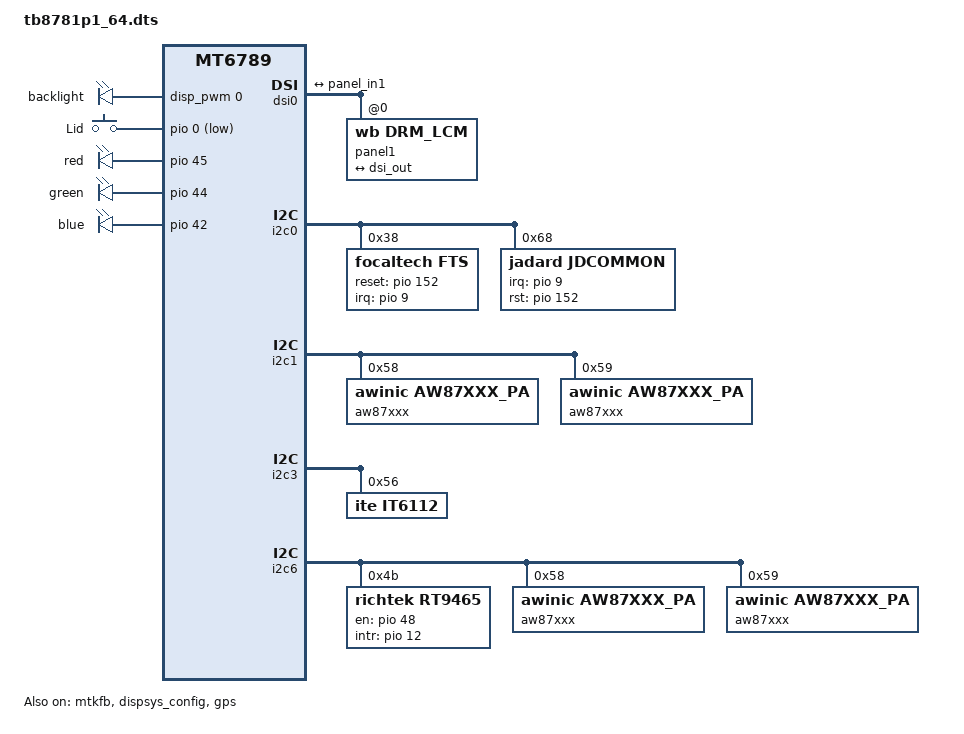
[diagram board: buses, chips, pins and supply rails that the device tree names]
// SPDX-License-Identifier: (GPL-2.0 OR MIT)
/*
 * Copyright (C) 2021 MediaTek Inc.
 */
/dts-v1/;
/plugin/;
#include <dt-bindings/interrupt-controller/arm-gic.h>
#include <dt-bindings/interrupt-controller/irq.h>
#include <dt-bindings/pinctrl/mt6789-pinfunc.h>
#include "mediatek/cust_mt6789_camera.dtsi"
#include <dt-bindings/gpio/gpio.h>
#include <dt-bindings/input/input.h>
#include "mediatek/bat_setting/mt6789_battery_prop.dtsi"

&chosen {
};

&android {
	hardware = "mt8781";
};

&mtk_leds {
	compatible = "mediatek,pwm-leds";

	backlight {
		led_mode = <5>;
		gate_enable = <1>;
        	pwms = <&disp_pwm 0 39385>;
		pwm_config = <0 1 0 0 0>;
	};
};

&pio {
	mtkfb_pins_lcd_bias_enp1: lcd_bias_enp1_gpio {
		pins_cmd_dat {
			pinmux = <PINMUX_GPIO38__FUNC_GPIO38>;
			slew-rate = <1>;
			output-high;
		};
	};

	mtkfb_pins_lcd_bias_enp0: lcd_bias_enp0_gpio {
		pins_cmd_dat {
			pinmux = <PINMUX_GPIO38__FUNC_GPIO38>;
			slew-rate = <1>;
			output-low;
		};
	};

	mtkfb_pins_lcd_bias_enn1: lcd_bias_enn1_gpio {
		pins_cmd_dat {
			pinmux = <PINMUX_GPIO39__FUNC_GPIO39>;
			slew-rate = <1>;
			output-high;
		};
	};

	mtkfb_pins_lcd_bias_enn0: lcd_bias_enn0_gpio {
		pins_cmd_dat {
			pinmux = <PINMUX_GPIO39__FUNC_GPIO39>;
			slew-rate = <1>;
			output-low;
		};
	};

	mtkfb_pins_lcm_led_en1: lcm_led_en1_gpio {
		pins_cmd_dat {
			pinmux = <PINMUX_GPIO12__FUNC_GPIO12>;
			slew-rate = <1>;
			output-high;
		};
	};

	mtkfb_pins_lcm_led_en0: lcm_led_en0_gpio {
		pins_cmd_dat {
			pinmux = <PINMUX_GPIO12__FUNC_GPIO12>;
			slew-rate = <1>;
			output-low;
		};
	};

	mtkfb_pins_lcm_rst_out1_gpio: lcm_rst_out1_gpio {
		pins_cmd_dat {
			pinmux = <PINMUX_GPIO85__FUNC_GPIO85>;
			slew-rate = <1>;
			output-high;
		};
	};

	mtkfb_pins_lcm_rst_out0_gpio: lcm_rst_out0_gpio {
		pins_cmd_dat {
			pinmux = <PINMUX_GPIO85__FUNC_GPIO85>;
			slew-rate = <1>;
			output-low;
		};
	};
	mtkfb_pins_lcm_dsi_te: lcm_dsi_te {
		pins_cmd_dat {
			pinmux = <PINMUX_GPIO83__FUNC_DSI_TE>;
		};
	};
	mtkfb_pins_lcd_pwr_1v8_en: lcd_pwr_1v8_en_gpio {
		pins_cmd_dat {
			pinmux = <PINMUX_GPIO52__FUNC_GPIO52>;
		};
	};
	mtkfb_pins_lcd_pwr_3v3_en: lcd_pwr_3v3_en_gpio {
		/*pins_cmd_dat {
			pinmux = <PINMUX_GPIO51__FUNC_GPIO51>;
		};*/
	};    

	mtkfb_pins_tp_rst_gpio: tp_rst_gpio {
		pins_cmd_dat {
			pinmux = <PINMUX_GPIO152__FUNC_GPIO152>;
		};
	};    
};

&mtkfb {
	pinctrl-names = "lcd_bias_enp1_gpio", "lcd_bias_enp0_gpio",
		"lcd_bias_enn1_gpio", "lcd_bias_enn0_gpio",
        	"lcm_led_en1_gpio", "lcm_led_en0_gpio",
		"lcm_rst_out1_gpio", "lcm_rst_out0_gpio",
		"mode_te_te","lcd_pwr_1v8_en_gpio","lcd_pwr_3v3_en_gpio",
        	"tp_rst_gpio";
	pinctrl-0 = <&mtkfb_pins_lcd_bias_enp1>;
	pinctrl-1 = <&mtkfb_pins_lcd_bias_enp0>;
	pinctrl-2 = <&mtkfb_pins_lcd_bias_enn1>;
	pinctrl-3 = <&mtkfb_pins_lcd_bias_enn0>;        
	pinctrl-4 = <&mtkfb_pins_lcm_led_en1>;
	pinctrl-5 = <&mtkfb_pins_lcm_led_en0>;
	pinctrl-6 = <&mtkfb_pins_lcm_rst_out1_gpio>;
	pinctrl-7 = <&mtkfb_pins_lcm_rst_out0_gpio>;
	pinctrl-8 = <&mtkfb_pins_lcm_dsi_te>;
	pinctrl-9 = <&mtkfb_pins_lcd_pwr_1v8_en>;
	pinctrl-10 = <&mtkfb_pins_lcd_pwr_3v3_en>;
	pinctrl-11 = <&mtkfb_pins_tp_rst_gpio>;
	status = "okay";
};

&dispsys_config {
	pinctrl-names =
		"lcm_rst_out1_gpio", "lcm_rst_out0_gpio",
		"mode_te_te";
	pinctrl-0 = <&mtkfb_pins_lcm_rst_out1_gpio>;
	pinctrl-1 = <&mtkfb_pins_lcm_rst_out0_gpio>;
	pinctrl-2 = <&mtkfb_pins_lcm_dsi_te>;
	status = "okay";
};

&dsi0 {
	status = "okay";
	#address-cells = <1>;
	#size-cells = <0>;
	panel1@0 {
		compatible = "wb,drm_lcm";
		reg = <0>;
		pinctrl-names = "default";
		//rotation = <90>;
		port {
			panel_in1: endpoint {
				remote-endpoint = <&dsi_out>;
			};
		};
	};
	
	ports {
		port {
			dsi_out: endpoint {
				remote-endpoint = <&panel_in1>;
			};
		};
	};
};

&odm {
	gpio_keys: gpio-keys{
		compatible = "gpio-keys";

		lid {
			label = "Lid";
			gpios = <&pio 0 GPIO_ACTIVE_LOW>;
			linux,code = <SW_LID>;
			linux,input-type = <EV_SW>;
			gpio-key,wakeup;
		};
	};
};

/* GPS GPIO standardization start */
&pio {
	gps_pins_default: gps_default {
	};
	gps_l1_lna_pins_ol: gps_l1_lna@0 {
		pins_cmd_dat {
			pinmux = <PINMUX_GPIO25__FUNC_GPIO25>;
			output-low;
		};
	};
	gps_l1_lna_pins_dsp_ctrl: gps_l1_lna@1 {
		pins_cmd_dat {
			pinmux = <PINMUX_GPIO25__FUNC_GPS_L1_ELNA_EN>;
		};
	};
	gps_l1_lna_pins_oh: gps_l1_lna@2 {
		pins_cmd_dat {
			pinmux = <PINMUX_GPIO25__FUNC_GPIO25>;
			output-high;
		};
	};
	gps_l5_lna_pins_ol: gps_l5_lna@0 {
		pins_cmd_dat {
			pinmux = <PINMUX_GPIO26__FUNC_GPIO26>;
			output-low;
		};
	};
	gps_l5_lna_pins_dsp_ctrl: gps_l5_lna@1 {
		pins_cmd_dat {
			pinmux = <PINMUX_GPIO26__FUNC_GPS_L5_ELNA_EN>;
		};
	};
	gps_l5_lna_pins_oh: gps_l5_lna@2 {
		pins_cmd_dat {
			pinmux = <PINMUX_GPIO26__FUNC_GPIO26>;
			output-high;
		};
	};
};

&extcon_usb {
	pinctrl-names = "default";
	pinctrl-0 = <&docking_eint_default>;
	docking_eint_gpio = <&pio 10 0x0>;
	interrupt-parent = <&pio>;
	interrupts = <10 IRQ_TYPE_LEVEL_LOW 10 0>;
};

&pio {
	docking_eint_default: docking_eint_default {
		pins_cmd_dat {
			pinmux = <PINMUX_GPIO10__FUNC_GPIO10>;
			slew-rate = <0>;
			bias-pull-up;
		};
	};
};

&cust_gpios {
	compatible = "cust,cust_gpios";
	gpio_it6112_en = <&pio 37 0>;
	gpio_bias_pos = <&pio 38 0>;
	gpio_bias_neg = <&pio 39 0>;
	gpio_lcm_1v8 = <&pio 52 0>;
	/*gpio_lcm_3v3 = <&pio 51 0>;*/
	gpio_lcm_rst = <&pio 85 0>;

	/*gpio_typec_otg_en   = <&pio 40 0>;*/
	gpio_otg_5v_en      = <&pio 36 0>;
	gpio_docking_en     = <&pio 34 0>;
	gpio_usb_switch     = <&pio 41 0>;
	status = "okay";
};

&gps {
	pinctrl-names = "default",
		"gps_l1_lna_disable",
		"gps_l1_lna_dsp_ctrl",
		"gps_l1_lna_enable",
		"gps_l5_lna_disable",
		"gps_l5_lna_dsp_ctrl",
		"gps_l5_lna_enable";
	pinctrl-0 = <&gps_pins_default>;
	pinctrl-1 = <&gps_l1_lna_pins_ol>;
	pinctrl-2 = <&gps_l1_lna_pins_dsp_ctrl>;
	pinctrl-3 = <&gps_l1_lna_pins_oh>;
	pinctrl-4 = <&gps_l5_lna_pins_ol>;
	pinctrl-5 = <&gps_l5_lna_pins_dsp_ctrl>;
	pinctrl-6 = <&gps_l5_lna_pins_oh>;
	status = "okay";
};
/* GPS GPIO standardization end */

//#include "mediatek/cust_mt6789_touch_1080x2400.dtsi"
//#include "mediatek/cust_mt6789_camera_v4l2.dtsi"

&i2c0 {
        focaltech@38{ 
            compatible = "focaltech,fts";	
            reg = <0x38>;  					
            interrupt-parent = <&pio>;			
            interrupts = <9 IRQ_TYPE_EDGE_FALLING 9 0>;
            focaltech,reset-gpio = <&pio 152 0>; 
            focaltech,irq-gpio = <&pio 9 IRQ_TYPE_EDGE_FALLING>; 	
            focaltech,max-touch-number = <10>;			
            focaltech,display-coords =  <0 0 1200 2000>;	 
		};
 
        jadard@68{
            compatible = "jadard,jdcommon";
            reg = <0x68>;
            interrupt-parent = <&pio>;
            interrupts = <9 IRQ_TYPE_EDGE_FALLING 9 0>;
            jadard,panel-sense-nums = <30 48>;
            jadard,panel-coords = <0 1200 0 2000>;
            jadard,panel-max-points = <10>;
            jadard,int-is-edge = <1>;
            jadard,irq-gpio = <&pio 9 0>;
            jadard,rst-gpio = <&pio 152 0>;
        };
};

&i2c1 {
    aw87xxx@58 {
        compatible = "awinic,aw87xxx_pa";
        reg = <0x58>;
        dev_index = <0>;
        status = "okay";
    }; 
    aw87xxx@59 {
        compatible = "awinic,aw87xxx_pa";
        reg = <0x59>;
        dev_index = <3>;
        status = "okay";
    };
};


&i2c3 {
	it6112@56 {
		compatible = "ite,it6112";
		reg = <0x56>;                      
		status = "okay";
	};
};
    
&i2c6 {
    rt9465@4b {
            compatible = "richtek,rt9465";
            reg = <0x4b>;
            status = "okay";
            rt,en_gpio_num = <48>;
            rt,en_gpio = <&pio 48 0x0>;
            mt6306_en_pin = <1>;
            rt,intr_gpio_num = <12>; /* direct defined GPIO num */
            rt,intr_gpio = <&pio 12 0x0>;
            interrupt-names = "wdtmri";
            charger_name = "secondary_chg";
            ichg = <1500000>; /* uA */
            mivr = <4500000>; /* uV */
            cv = <4350000>; /* uV */
            ieoc = <700000>; /* uA */
            safety_timer = <12>; /* hour */
            en_st; /* safety timer */
            /* en_te; */
            en_wdt;
    };


   aw87xxx@58 {
        compatible = "awinic,aw87xxx_pa";
        reg = <0x58>;
        dev_index = <1>;
        status = "okay";
    }; 
    aw87xxx@59 {
        compatible = "awinic,aw87xxx_pa";
        reg = <0x59>;
        dev_index = <2>;
        status = "okay";
    };

};

&leds{
	red {
		label = "red";
		gpios = <&pio 45 0x0>;
		default-state = "off";
	};

	green {
		label = "green";
		gpios = <&pio 44 0x0>;
		default-state = "off";
	};

	blue {
		label = "blue";
		gpios = <&pio 42 0x0>;
		default-state = "off";
	};
};

&charger{
    battery_cv = <4200000>;
};

/*#include "mediatek/cust_mt6789_touch_1200x2000.dtsi"*/
#include "mediatek/atouch/m100t_touch_spi.dtsi"

#include <tb8781p1_64/cust.dtsi>
/*End of this file, DO NOT ADD ANYTHING HERE*/
